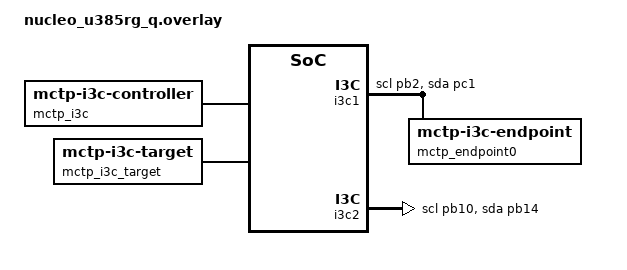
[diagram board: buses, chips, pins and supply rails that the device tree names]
/*
 * Copyright (c) 2026 Intel Corporation
 *
 * SPDX-License-Identifier: Apache-2.0
 */

/* Loopback wiring (two-wire):
 * - I3C1_SCL (PB2) <-> I3C2_SCL (PB10)
 * - I3C1_SDA (PC1) <-> I3C2_SDA (PB14)
 */
&i3c1 {
	zephyr,deferred-init;
	pinctrl-0 = <&i3c1_scl_pb2 &i3c1_sda_pc1>;
	pinctrl-names = "default";
	status = "okay";
	i3c-scl-hz = <1000000>;
	i2c-scl-hz = <400000>;

	mctp_endpoint0: mctp_endpoint0@20813818000 {
		zephyr,deferred-init;
		compatible = "zephyr,mctp-i3c-endpoint";
		reg = <0x0000 0x0208 0x13818000>;
		status = "okay";
	};
};

&i3c2 {
	pinctrl-0 = <&i3c2_scl_pb10 &i3c2_sda_pb14>;
	pinctrl-names = "default";
	status = "okay";
	target-mode;
	mipi-instance = <0x8>;
};

/ {
	mctp_i3c: mctp_i3c {
		compatible = "zephyr,mctp-i3c-controller";
		endpoints = <&mctp_endpoint0>;
		endpoint-ids = <11>;
	};

	mctp_i3c_target: mctp_i3c_target {
		compatible = "zephyr,mctp-i3c-target";
		i3c = <&i3c2>;
		endpoint-id = <11>;
	};
};

i3c_controller: &i3c1 {};
